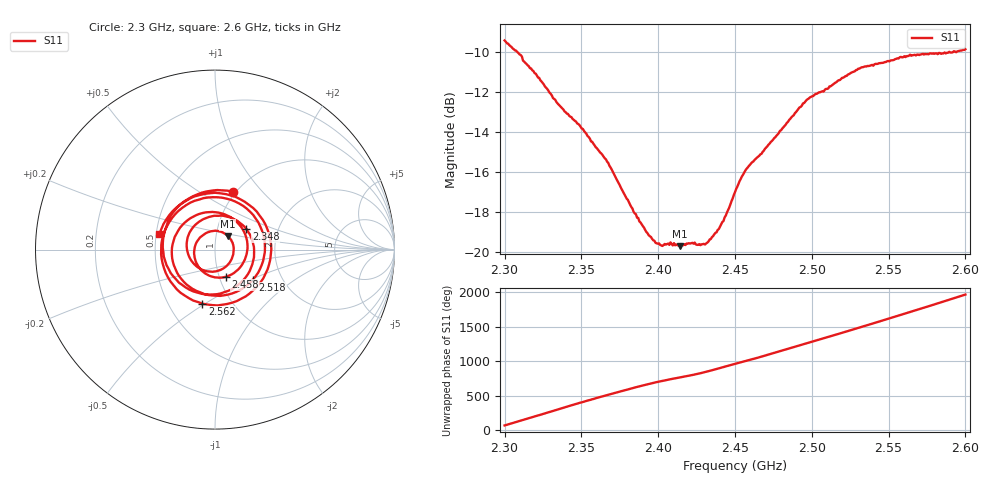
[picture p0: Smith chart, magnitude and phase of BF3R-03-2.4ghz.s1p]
! NanoVNA-App
! Date: 2026-05-22 16:07:13
! Start: 2.3GHz Stop: 2.6GHz Points: 401
! S-Parameter data: F S11
# Hz S RI R 50
!  Frequency  S11_Real  S11_Imag
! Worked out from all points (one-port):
!   401 points, 2.3 GHz to 2.6 GHz, reference 50 ohm
!   lowest |S11| = -19.7 dB at 2.414 GHz (marker M1), VSWR 1.23, Z = 57 + j8.63 ohm
!   |S11| at or under -10 dB: 2.308 GHz to 2.589 GHz (281 MHz wide, 11.5 % of centre); 2.589783 GHz to 2.591918 GHz (2.135 MHz wide, 0.0824 % of centre); 2.593839 GHz to 2.59412 GHz (280.1 kHz wide, 0.0108 % of centre)
!   S11 on the Smith chart (normalised r, x): 2.3 GHz: 0.97, +0.71; 2.348 GHz: 1.38, +0.33; 2.458 GHz: 1.07, -0.33; 2.518 GHz: 1.43, -0.51; 2.562 GHz: 0.73, -0.49; 2.6 GHz: 0.52, +0.10
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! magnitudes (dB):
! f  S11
! 2.3 GHz  -9.4
! 2.31 GHz  -10.1
! 2.337 GHz  -12.8
! 2.348 GHz  -13.6
! 2.366 GHz  -15.4
! 2.375 GHz  -16.7
! 2.388 GHz  -18.5
! 2.397 GHz  -19.4
! 2.402 GHz  -19.7
! 2.413 GHz  -19.7
! 2.414 GHz  -19.7
! 2.422 GHz  -19.5
! 2.429 GHz  -19.6
! 2.433 GHz  -19.5
! 2.441 GHz  -18.6
! 2.446 GHz  -17.9
! 2.45 GHz  -17.0
! 2.454 GHz  -16.2
! 2.458 GHz  -15.8
! 2.467 GHz  -15.1
! 2.487 GHz  -13.2
! 2.498 GHz  -12.3
! 2.518 GHz  -11.4
! 2.525 GHz  -11.1
! 2.533 GHz  -10.8
! 2.562 GHz  -10.2
! 2.562 GHz  -10.2
! 2.6 GHz  -9.9
